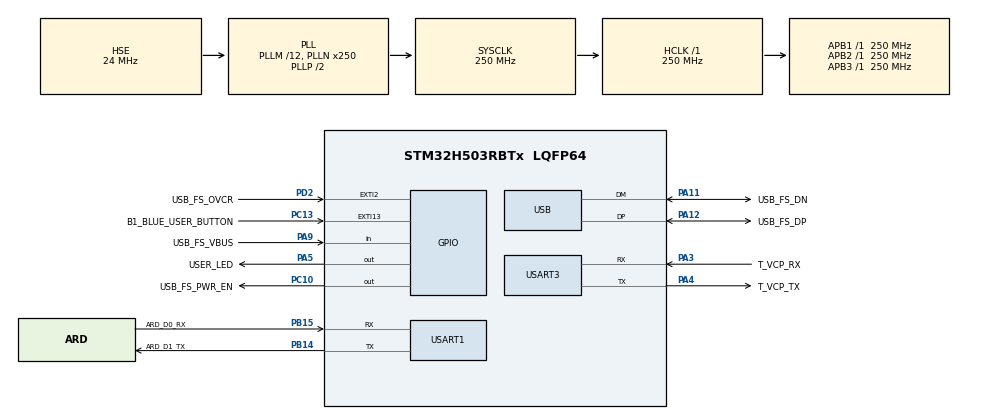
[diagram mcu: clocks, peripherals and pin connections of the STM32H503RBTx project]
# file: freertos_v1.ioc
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Mcu.Family=STM32H5
Mcu.Name=STM32H503RBTx
Mcu.Package=LQFP64
NVIC.PriorityGroup=NVIC_PRIORITYGROUP_4
NVIC.TIM7_IRQn=true\:15\:0\:false\:false\:true\:false\:true\:true
NVIC.TimeBase=TIM7_IRQn
NVIC.TimeBaseIP=TIM7
PA11.GPIO_Label=USB_FS_DN
PA11.Mode=Device
PA11.Signal=USB_DM
PA12.GPIO_Label=USB_FS_DP
PA12.Mode=Device
PA12.Signal=USB_DP
PA13(JTMS/SWDIO).GPIO_Label=T_SWDIO
PA13(JTMS/SWDIO).Mode=JTAG_4_pins
PA13(JTMS/SWDIO).Signal=DEBUG_JTMS-SWDIO
PA14(JTCK/SWCLK).GPIO_Label=T_SWCLK
PA14(JTCK/SWCLK).Mode=JTAG_4_pins
PA14(JTCK/SWCLK).Signal=DEBUG_JTCK-SWCLK
PA15(JTDI).GPIO_Label=T_JTDI
PA15(JTDI).Mode=JTAG_4_pins
PA15(JTDI).Signal=DEBUG_JTDI
PA3.GPIO_Label=T_VCP_RX
PA3.Mode=Asynchronous
PA3.Signal=USART3_RX
PA4.GPIO_Label=T_VCP_TX
PA4.Mode=Asynchronous
PA4.Signal=USART3_TX
PA5.GPIO_Label=USER_LED
PA5.Signal=GPIO_Output
PA9.GPIO_Label=USB_FS_VBUS
PA9.Signal=GPIO_Input
PB14.GPIO_Label=ARD_D1_TX
PB14.Mode=Asynchronous
PB14.Signal=USART1_TX
PB15.GPIO_Label=ARD_D0_RX
PB15.Mode=Asynchronous
PB15.Signal=USART1_RX
PB3(JTDO/TRACESWO).GPIO_Label=T_SWO
PB3(JTDO/TRACESWO).Mode=JTAG_4_pins
PB3(JTDO/TRACESWO).Signal=DEBUG_JTDO-SWO
PC10.GPIO_Label=USB_FS_PWR_EN
PC10.Signal=GPIO_Output
PC13.GPIO_Label=B1_BLUE_USER_BUTTON
PC13.Signal=GPXTI13
PC14-OSC32_IN(OSC32_IN).Mode=LSE-External-Oscillator
PC14-OSC32_IN(OSC32_IN).Signal=RCC_OSC32_IN
PC15-OSC32_OUT(OSC32_OUT).Mode=LSE-External-Oscillator
PC15-OSC32_OUT(OSC32_OUT).Signal=RCC_OSC32_OUT
PD2.GPIO_Label=USB_FS_OVCR
PD2.Signal=GPXTI2
PH0-OSC_IN(PH0).Mode=HSE-External-Oscillator
PH0-OSC_IN(PH0).Signal=RCC_OSC_IN
PH1-OSC_OUT(PH1).Mode=HSE-External-Oscillator
PH1-OSC_OUT(PH1).Signal=RCC_OSC_OUT
ProjectManager.HeapSize=0x200
ProjectManager.StackSize=0x400
ProjectManager.TargetToolchain=STM32CubeIDE
RCC.ADCFreq_Value=250000000
RCC.AHBFreq_Value=250000000
RCC.APB1Freq_Value=250000000
RCC.APB1TimFreq_Value=250000000
RCC.APB2Freq_Value=250000000
RCC.APB2TimFreq_Value=250000000
RCC.APB3Freq_Value=250000000
RCC.CSI_VALUE=4000000
RCC.CortexFreq_Value=250000000
RCC.EPOD_VALUE=24000000
RCC.HCLKFreq_Value=250000000
RCC.HSE_VALUE=24000000
RCC.HSI48_VALUE=48000000
RCC.HSIDiv=RCC_HSI_DIV1
RCC.HSI_VALUE=64000000
RCC.LSIRC_VALUE=32000
RCC.PLLM=12
RCC.PLLN=250
RCC.PLLSourceVirtual=RCC_PLL1_SOURCE_HSE
RCC.SYSCLKFreq_VALUE=250000000
RCC.SYSCLKSource=RCC_SYSCLKSOURCE_PLLCLK
RCC.USBFreq_Value=48000000
RCC.VCOOutputFreq_Value=500000000
USART1.VirtualMode=VM_ASYNC
USART3.VirtualMode=VM_ASYNC
USB.VirtualMode=Device_Only
VP_BOOTPATH_VS_BOOTPATH.Mode=BP_Activate
VP_CORTEX_M33_NS_VS_Hclk.Mode=Hclk_Mode
VP_ICACHE_VS_ICACHE.Mode=DefaultMode
VP_MEMORYMAP_VS_MEMORYMAP.Mode=CurAppReg
VP_PWR_VS_DBSignals.Mode=DisableDeadBatterySignals
VP_PWR_VS_LPOM.Mode=PowerOptimisation
VP_PWR_VS_SECSignals.Mode=Security/Privilege
VP_SYS_VS_tim7.Mode=TIM7
board=NUCLEO-H503RB

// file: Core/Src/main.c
/* USER CODE BEGIN Header */
/**
  ******************************************************************************
  * @file           : main.c
  * @brief          : Main program body
  ******************************************************************************
  * @attention
  *
  * Copyright (c) 2026 STMicroelectronics.
  * All rights reserved.
  *
  * This software is licensed under terms that can be found in the LICENSE file
  * in the root directory of this software component.
  * If no LICENSE file comes with this software, it is provided AS-IS.
  *
  ******************************************************************************
  */
/* USER CODE END Header */
#include "main.h"

/* USER CODE BEGIN Includes */
#include "FreeRTOS.h"
#include "task.h"
#include "core_cm33.h"
/* USER CODE END Includes */

UART_HandleTypeDef huart1;
UART_HandleTypeDef huart3;

PCD_HandleTypeDef hpcd_USB_DRD_FS;

/* USER CODE BEGIN PV */
#define DWT_CTRL (*(volatile uint32_t*)0xE0001000 )
/* USER CODE END PV */

void SystemClock_Config(void);
static void MX_GPIO_Init(void);
static void MX_ICACHE_Init(void);
static void MX_USART1_UART_Init(void);
static void MX_USART3_UART_Init(void);
static void MX_USB_PCD_Init(void);
/* USER CODE BEGIN PFP */
static void task1_handler(void *parameters);
static void task2_handler(void *parameters);
/* USER CODE END PFP */

int main(void)
{

  /* USER CODE BEGIN 1 */
	TaskHandle_t task1_handle;
	TaskHandle_t task2_handle;
	BaseType_t status;
  /* USER CODE END 1 */

  /* MCU Configuration--------------------------------------------------------*/

  /* Reset of all peripherals, Initializes the Flash interface and the Systick. */
  HAL_Init();

  /* Configure the system clock */
  SystemClock_Config();

  /* Initialize all configured peripherals */
  MX_GPIO_Init();
  MX_ICACHE_Init();
  MX_USART1_UART_Init();
  MX_USART3_UART_Init();
  MX_USB_PCD_Init();
  /* USER CODE BEGIN 2 */

  //enable the cycnt counter
  DWT_CTRL |= (1<<0);
  SEGGER_SYSVIEW_Conf();
  SEGGER_SYSVIEW_Start();

  status = xTaskCreate(task1_handler, "task1", 200, "task1prnt", 2, &task1_handle);

  configASSERT(status == pdPASS);

  status = xTaskCreate(task2_handler, "task2", 200, "task2prnt", 2, &task2_handle);

  configASSERT(status == pdPASS);

  //start the freertos schedular
  vTaskStartScheduler();

  // if the control comes here then the launch of the scheduler has failed due to insufficient library
  /* USER CODE END 2 */

  /* Infinite loop */
  while (1)
  {

  }
}

void SystemClock_Config(void)
{
  RCC_OscInitTypeDef RCC_OscInitStruct = {0};
  RCC_ClkInitTypeDef RCC_ClkInitStruct = {0};

  /** Configure the main internal regulator output voltage
  */
  __HAL_PWR_VOLTAGESCALING_CONFIG(PWR_REGULATOR_VOLTAGE_SCALE0);

  while(!__HAL_PWR_GET_FLAG(PWR_FLAG_VOSRDY)) {}

  /** Initializes the RCC Oscillators according to the specified parameters
  * in the RCC_OscInitTypeDef structure.
  */
  RCC_OscInitStruct.OscillatorType = RCC_OSCILLATORTYPE_HSI48|RCC_OSCILLATORTYPE_HSE;
  RCC_OscInitStruct.HSEState = RCC_HSE_ON;
  RCC_OscInitStruct.HSI48State = RCC_HSI48_ON;
  RCC_OscInitStruct.PLL.PLLState = RCC_PLL_ON;
  RCC_OscInitStruct.PLL.PLLSource = RCC_PLL1_SOURCE_HSE;
  RCC_OscInitStruct.PLL.PLLM = 12;
  RCC_OscInitStruct.PLL.PLLN = 250;
  RCC_OscInitStruct.PLL.PLLP = 2;
  RCC_OscInitStruct.PLL.PLLQ = 2;
  RCC_OscInitStruct.PLL.PLLR = 2;
  RCC_OscInitStruct.PLL.PLLRGE = RCC_PLL1_VCIRANGE_1;
  RCC_OscInitStruct.PLL.PLLVCOSEL = RCC_PLL1_VCORANGE_WIDE;
  RCC_OscInitStruct.PLL.PLLFRACN = 0;
  if (HAL_RCC_OscConfig(&RCC_OscInitStruct) != HAL_OK)
  {
    Error_Handler();
  }

  /** Initializes the CPU, AHB and APB buses clocks
  */
  RCC_ClkInitStruct.ClockType = RCC_CLOCKTYPE_HCLK|RCC_CLOCKTYPE_SYSCLK
                              |RCC_CLOCKTYPE_PCLK1|RCC_CLOCKTYPE_PCLK2
                              |RCC_CLOCKTYPE_PCLK3;
  RCC_ClkInitStruct.SYSCLKSource = RCC_SYSCLKSOURCE_PLLCLK;
  RCC_ClkInitStruct.AHBCLKDivider = RCC_SYSCLK_DIV1;
  RCC_ClkInitStruct.APB1CLKDivider = RCC_HCLK_DIV1;
  RCC_ClkInitStruct.APB2CLKDivider = RCC_HCLK_DIV1;
  RCC_ClkInitStruct.APB3CLKDivider = RCC_HCLK_DIV1;

  if (HAL_RCC_ClockConfig(&RCC_ClkInitStruct, FLASH_LATENCY_5) != HAL_OK)
  {
    Error_Handler();
  }
}

static void MX_ICACHE_Init(void)
{

  /** Enable instruction cache (default 2-ways set associative cache)
  */
  if (HAL_ICACHE_Enable() != HAL_OK)
  {
    Error_Handler();
  }

}

static void MX_USART1_UART_Init(void)
{

  huart1.Instance = USART1;
  huart1.Init.BaudRate = 115200;
  huart1.Init.WordLength = UART_WORDLENGTH_8B;
  huart1.Init.StopBits = UART_STOPBITS_1;
  huart1.Init.Parity = UART_PARITY_NONE;
  huart1.Init.Mode = UART_MODE_TX_RX;
  huart1.Init.HwFlowCtl = UART_HWCONTROL_NONE;
  huart1.Init.OverSampling = UART_OVERSAMPLING_16;
  huart1.Init.OneBitSampling = UART_ONE_BIT_SAMPLE_DISABLE;
  huart1.Init.ClockPrescaler = UART_PRESCALER_DIV1;
  huart1.AdvancedInit.AdvFeatureInit = UART_ADVFEATURE_NO_INIT;
  if (HAL_UART_Init(&huart1) != HAL_OK)
  {
    Error_Handler();
  }
  if (HAL_UARTEx_SetTxFifoThreshold(&huart1, UART_TXFIFO_THRESHOLD_1_8) != HAL_OK)
  {
    Error_Handler();
  }
  if (HAL_UARTEx_SetRxFifoThreshold(&huart1, UART_RXFIFO_THRESHOLD_1_8) != HAL_OK)
  {
    Error_Handler();
  }
  if (HAL_UARTEx_DisableFifoMode(&huart1) != HAL_OK)
  {
    Error_Handler();
  }

}

static void MX_USART3_UART_Init(void)
{

  huart3.Instance = USART3;
  huart3.Init.BaudRate = 115200;
  huart3.Init.WordLength = UART_WORDLENGTH_8B;
  huart3.Init.StopBits = UART_STOPBITS_1;
  huart3.Init.Parity = UART_PARITY_NONE;
  huart3.Init.Mode = UART_MODE_TX_RX;
  huart3.Init.HwFlowCtl = UART_HWCONTROL_NONE;
  huart3.Init.OverSampling = UART_OVERSAMPLING_16;
  huart3.Init.OneBitSampling = UART_ONE_BIT_SAMPLE_DISABLE;
  huart3.Init.ClockPrescaler = UART_PRESCALER_DIV1;
  huart3.AdvancedInit.AdvFeatureInit = UART_ADVFEATURE_NO_INIT;
  if (HAL_UART_Init(&huart3) != HAL_OK)
  {
    Error_Handler();
  }
  if (HAL_UARTEx_SetTxFifoThreshold(&huart3, UART_TXFIFO_THRESHOLD_1_8) != HAL_OK)
  {
    Error_Handler();
  }
  if (HAL_UARTEx_SetRxFifoThreshold(&huart3, UART_RXFIFO_THRESHOLD_1_8) != HAL_OK)
  {
    Error_Handler();
  }
  if (HAL_UARTEx_DisableFifoMode(&huart3) != HAL_OK)
  {
    Error_Handler();
  }

}

static void MX_USB_PCD_Init(void)
{

  hpcd_USB_DRD_FS.Instance = USB_DRD_FS;
  hpcd_USB_DRD_FS.Init.dev_endpoints = 8;
  hpcd_USB_DRD_FS.Init.speed = USBD_FS_SPEED;
  hpcd_USB_DRD_FS.Init.phy_itface = PCD_PHY_EMBEDDED;
  hpcd_USB_DRD_FS.Init.Sof_enable = DISABLE;
  hpcd_USB_DRD_FS.Init.low_power_enable = DISABLE;
  hpcd_USB_DRD_FS.Init.lpm_enable = DISABLE;
  hpcd_USB_DRD_FS.Init.battery_charging_enable = DISABLE;
  hpcd_USB_DRD_FS.Init.vbus_sensing_enable = DISABLE;
  hpcd_USB_DRD_FS.Init.bulk_doublebuffer_enable = DISABLE;
  hpcd_USB_DRD_FS.Init.iso_singlebuffer_enable = DISABLE;
  if (HAL_PCD_Init(&hpcd_USB_DRD_FS) != HAL_OK)
  {
    Error_Handler();
  }

}

static void MX_GPIO_Init(void)
{
  GPIO_InitTypeDef GPIO_InitStruct = {0};

  /* GPIO Ports Clock Enable */
  __HAL_RCC_GPIOC_CLK_ENABLE();
  __HAL_RCC_GPIOH_CLK_ENABLE();
  __HAL_RCC_GPIOA_CLK_ENABLE();
  __HAL_RCC_GPIOB_CLK_ENABLE();
  __HAL_RCC_GPIOD_CLK_ENABLE();

  /*Configure GPIO pin Output Level */
  HAL_GPIO_WritePin(USER_LED_GPIO_Port, USER_LED_Pin, GPIO_PIN_RESET);

  /*Configure GPIO pin Output Level */
  HAL_GPIO_WritePin(USB_FS_PWR_EN_GPIO_Port, USB_FS_PWR_EN_Pin, GPIO_PIN_RESET);

  /*Configure GPIO pin : B1_BLUE_USER_BUTTON_Pin */
  GPIO_InitStruct.Pin = B1_BLUE_USER_BUTTON_Pin;
  GPIO_InitStruct.Mode = GPIO_MODE_IT_RISING;
  GPIO_InitStruct.Pull = GPIO_NOPULL;
  HAL_GPIO_Init(B1_BLUE_USER_BUTTON_GPIO_Port, &GPIO_InitStruct);

  /*Configure GPIO pin : USER_LED_Pin */
  GPIO_InitStruct.Pin = USER_LED_Pin;
  GPIO_InitStruct.Mode = GPIO_MODE_OUTPUT_PP;
  GPIO_InitStruct.Pull = GPIO_NOPULL;
  GPIO_InitStruct.Speed = GPIO_SPEED_FREQ_LOW;
  HAL_GPIO_Init(USER_LED_GPIO_Port, &GPIO_InitStruct);

  /*Configure GPIO pin : USB_FS_VBUS_Pin */
  GPIO_InitStruct.Pin = USB_FS_VBUS_Pin;
  GPIO_InitStruct.Mode = GPIO_MODE_INPUT;
  GPIO_InitStruct.Pull = GPIO_NOPULL;
  HAL_GPIO_Init(USB_FS_VBUS_GPIO_Port, &GPIO_InitStruct);

  /*Configure GPIO pin : USB_FS_PWR_EN_Pin */
  GPIO_InitStruct.Pin = USB_FS_PWR_EN_Pin;
  GPIO_InitStruct.Mode = GPIO_MODE_OUTPUT_PP;
  GPIO_InitStruct.Pull = GPIO_NOPULL;
  GPIO_InitStruct.Speed = GPIO_SPEED_FREQ_LOW;
  HAL_GPIO_Init(USB_FS_PWR_EN_GPIO_Port, &GPIO_InitStruct);

  /*Configure GPIO pin : USB_FS_OVCR_Pin */
  GPIO_InitStruct.Pin = USB_FS_OVCR_Pin;
  GPIO_InitStruct.Mode = GPIO_MODE_IT_RISING;
  GPIO_InitStruct.Pull = GPIO_NOPULL;
  HAL_GPIO_Init(USB_FS_OVCR_GPIO_Port, &GPIO_InitStruct);

}

/* USER CODE BEGIN 4 */
static void task1_handler(void *parameters){
	while(1){
		HAL_UART_Transmit(&huart1, parameters, 9, HAL_MAX_DELAY);
		//printf("%s\n",(char*)parameters);
		//taskYIELD();
	}
}
static void task2_handler(void *parameters){
	while(1){
		HAL_UART_Transmit(&huart1, parameters, 9, HAL_MAX_DELAY);
		//printf("%s\n",(char*)parameters);
		//taskYIELD();
	}
}
/* USER CODE END 4 */

void HAL_TIM_PeriodElapsedCallback(TIM_HandleTypeDef *htim)
{
  if (htim->Instance == TIM7) {
    HAL_IncTick();
  }
}

void Error_Handler(void)
{
  __disable_irq();
  while (1)
  {
  }
}
